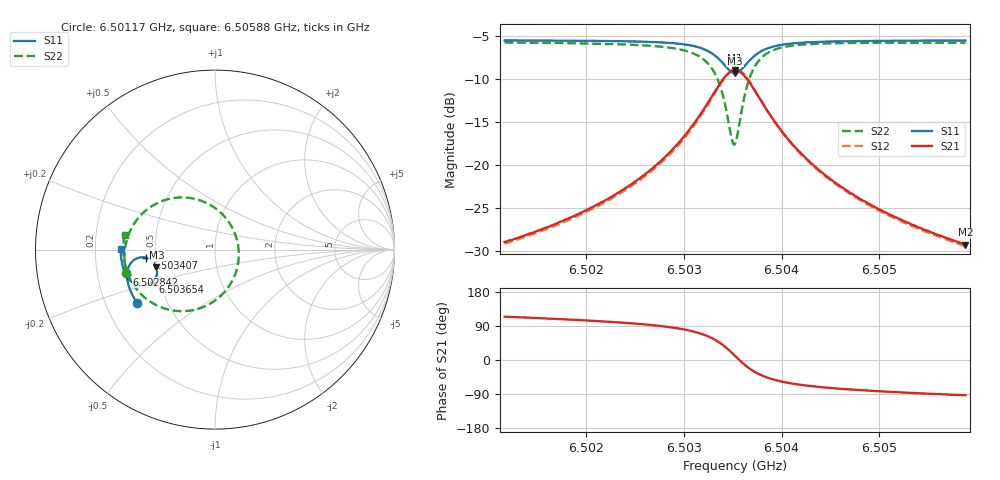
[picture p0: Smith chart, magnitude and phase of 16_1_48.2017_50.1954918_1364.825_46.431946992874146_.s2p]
#  HZ  S  RI  R  50.00
! Rohde & Schwarz Vector Network Analyzer
! Rohde-Schwarz,ZNB20-2Port,1311601062101988,3.16
! Created: UTC 3/20/2024, 11:36:45 AM
! freq[Hz]  re:S11  im:S11  re:S21  im:S21  re:S12  im:S12  re:S22  im:S22
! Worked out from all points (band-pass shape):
!   401 points, 6.50117 GHz to 6.50588 GHz, reference 50 ohm
!   highest |S21| = -9.02 dB at 6.503525 GHz (marker M1); lowest = -29.2 dB at 6.50588 GHz (marker M2)
!   |S21| within 3 dB of the highest: 6.50329 GHz to 6.503761 GHz (471.3 kHz wide, 0.00725 % of centre)
!   lowest |S11| = -9.4 dB at 6.503525 GHz (marker M3), VSWR 2.03, Z = 25 - j5.59 ohm
!   |S11| at or under -10 dB: nowhere
!   |S22| runs from -17.6 to -5.8 dB; largest |S21 - S12| = 0.012
!   S11 on the Smith chart (normalised r, x): 6.50117 GHz: 0.34, -0.27; 6.502842 GHz: 0.33, -0.12; 6.503407 GHz: 0.45, -0.05; 6.503654 GHz: 0.46, -0.20; 6.50588 GHz: 0.31, +0.00
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6.5011698e9  -0.4361 -0.2949  -0.0147 0.0327  -0.013 0.0326  -0.4953 -0.1328
6.5019587e9  -0.4686 -0.2346  -0.0138 0.0515  -0.0111 0.0509  -0.5046 -0.0452
6.5023708e9  -0.4825 -0.1967  -0.0107 0.0707  -0.00766 0.0692  -0.4995 0.0166
6.5027476e9  -0.4904 -0.1532  -0.000137 0.1034  0.0034 0.1007  -0.4762 0.0971
6.5028418e9  -0.4907 -0.1397  0.00555 0.1158  0.00947 0.1127  -0.463 0.1239
6.503042e9  -0.4849 -0.1052  0.0307 0.1525  0.0343 0.1477  -0.4109 0.1947
6.5031833e9  -0.4685 -0.0746  0.0726 0.1878  0.0751 0.1813  -0.3304 0.2547
6.5033128e9  -0.4309 -0.0472  0.1528 0.214  0.1531 0.2076  -0.1845 0.2907
6.503407e9  -0.3823 -0.0449  0.2477 0.1964  0.2476 0.1919  -0.0199 0.2448
6.5034894e9  -0.3374 -0.0757  0.3292 0.1187  0.3318 0.1147  0.1105 0.091
6.5035247e9  -0.3261 -0.0989  0.3476 0.0678  0.3514 0.0625  0.1322 -0.00487
6.5035483e9  -0.3228 -0.116  0.3512 0.0316  0.3557 0.025  0.1297 -0.0716
6.5035836e9  -0.3249 -0.1413  0.3434 -0.021  0.3474 -0.0298  0.101 -0.1648
6.5036542e9  -0.3479 -0.1806  0.2945 -0.1007  0.2947 -0.1127  -0.0149 -0.2942
6.5037484e9  -0.3906 -0.2016  0.2124 -0.1459  0.2074 -0.1566  -0.1825 -0.3431
6.5038191e9  -0.4178 -0.2017  0.1625 -0.1512  0.1555 -0.1595  -0.2758 -0.3297
6.5039015e9  -0.4418 -0.1945  0.1201 -0.145  0.1127 -0.1506  -0.3502 -0.2966
6.5040663e9  -0.472 -0.1734  0.0701 -0.1228  0.0634 -0.1254  -0.4314 -0.2267
6.5043136e9  -0.495 -0.1421  0.0359 -0.0946  0.0307 -0.0951  -0.4807 -0.1462
6.5046904e9  -0.5117 -0.1013  0.0151 -0.0682  0.0115 -0.0677  -0.5049 -0.0651
6.5051025e9  -0.5205 -0.0623  0.00541 -0.0515  0.00308 -0.0507  -0.5107 -0.00327
6.5058796e9  -0.526 0.00457  -0.00182 -0.0346  -0.00335 -0.0338  -0.5039 0.0829
